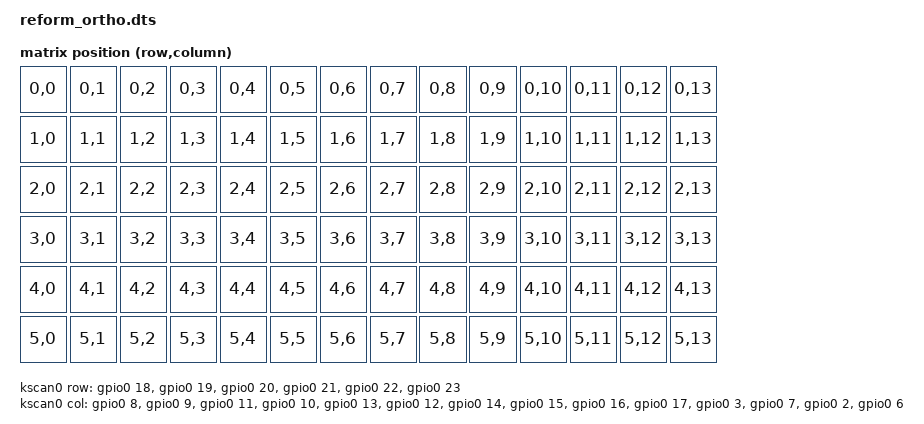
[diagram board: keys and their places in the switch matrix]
/*
  SPDX-License-Identifier: GPL-3.0-or-later
  Copyright 2026 Gordon Q
*/
/dts-v1/;

#include <raspberrypi/rpi_pico/rp2040.dtsi>
#include <dt-bindings/led/led.h>
#include <dt-bindings/input/input-event-codes.h>
#include <dt-bindings/zmk/matrix_transform.h>
#include <input/processors.dtsi>

#include "reform_ortho-pinctrl.dtsi"
#include "reform_ortho-layouts.dtsi"

&reform_ortho_layout {
    transform = <&default_transform>;
};

/ {

    chosen {
        zephyr,console = &uart1;
        zephyr,shell-uart = &uart1;
        zephyr,sram = &sram0;
        zephyr,flash = &flash0;
        zephyr,flash-controller = &ssi;
        zephyr,code-partition = &code_partition;
        zephyr,display = &oled;

        mnt,reform-sysctrl = &uart1;

        zmk,kscan = &kscan0;
        zmk,physical-layout = &reform_ortho_layout;
        zmk,underglow = &led_strip;
    };

    aliases {
        watchdog0 = &wdt0;
    };

    sleep_config: rp2040_sleep {
        compatible = "raspberrypi,rp2040-sleep";
        sleep-en0 = <0xf09419d9>; /* stock mask + clk_sys_i2c1 */
        sleep-en1 = <0x6f23>; /* stock mask + clk_peri_uart1, clk_sys_uart1 */
        wake-en0 = <0xf0fddff9>; /* stock mask + clk_sys_i2c1 */
        wake-en1 = <0x7f27>;
        deep-sleep;
    };

    trackball_listener {
        compatible = "zmk,input-listener";
        device = <&trackball>;
        input-processors = <&zip_xy_scaler 2 1>;
    };

    default_transform: keymap_transform_0 {
        compatible = "zmk,matrix-transform";
        columns = <14>;
        rows = <6>;

        // Full 14x6 grid: matrix row/column N is physical row/column N
        map = <
            RC(0,0) RC(0,1) RC(0,2) RC(0,3) RC(0,4) RC(0,5) RC(0,6) RC(0,7) RC(0,8) RC(0,9) RC(0,10) RC(0,11) RC(0,12) RC(0,13)
            RC(1,0) RC(1,1) RC(1,2) RC(1,3) RC(1,4) RC(1,5) RC(1,6) RC(1,7) RC(1,8) RC(1,9) RC(1,10) RC(1,11) RC(1,12) RC(1,13)
            RC(2,0) RC(2,1) RC(2,2) RC(2,3) RC(2,4) RC(2,5) RC(2,6) RC(2,7) RC(2,8) RC(2,9) RC(2,10) RC(2,11) RC(2,12) RC(2,13)
            RC(3,0) RC(3,1) RC(3,2) RC(3,3) RC(3,4) RC(3,5) RC(3,6) RC(3,7) RC(3,8) RC(3,9) RC(3,10) RC(3,11) RC(3,12) RC(3,13)
            RC(4,0) RC(4,1) RC(4,2) RC(4,3) RC(4,4) RC(4,5) RC(4,6) RC(4,7) RC(4,8) RC(4,9) RC(4,10) RC(4,11) RC(4,12) RC(4,13)
            RC(5,0) RC(5,1) RC(5,2) RC(5,3) RC(5,4) RC(5,5) RC(5,6) RC(5,7) RC(5,8) RC(5,9) RC(5,10) RC(5,11) RC(5,12) RC(5,13)
        >;
    };

    kscan0: kscan {
        compatible = "zmk,kscan-gpio-matrix";

        diode-direction = "col2row";
        row-gpios
            = <&gpio0 18 (GPIO_ACTIVE_HIGH | GPIO_PULL_DOWN)>
            , <&gpio0 19 (GPIO_ACTIVE_HIGH | GPIO_PULL_DOWN)>
            , <&gpio0 20 (GPIO_ACTIVE_HIGH | GPIO_PULL_DOWN)>
            , <&gpio0 21 (GPIO_ACTIVE_HIGH | GPIO_PULL_DOWN)>
            , <&gpio0 22 (GPIO_ACTIVE_HIGH | GPIO_PULL_DOWN)>
            , <&gpio0 23 (GPIO_ACTIVE_HIGH | GPIO_PULL_DOWN)>
            ;
        col-gpios
            = <&gpio0 8  GPIO_ACTIVE_HIGH>
            , <&gpio0 9  GPIO_ACTIVE_HIGH>
            , <&gpio0 11 GPIO_ACTIVE_HIGH>
            , <&gpio0 10 GPIO_ACTIVE_HIGH>
            , <&gpio0 13 GPIO_ACTIVE_HIGH>
            , <&gpio0 12 GPIO_ACTIVE_HIGH>
            , <&gpio0 14 GPIO_ACTIVE_HIGH>
            , <&gpio0 15 GPIO_ACTIVE_HIGH>
            , <&gpio0 16 GPIO_ACTIVE_HIGH>
            , <&gpio0 17 GPIO_ACTIVE_HIGH>
            , <&gpio0 3  GPIO_ACTIVE_HIGH>
            , <&gpio0 7  GPIO_ACTIVE_HIGH>
            , <&gpio0 2  GPIO_ACTIVE_HIGH>
            , <&gpio0 6  GPIO_ACTIVE_HIGH>
            ;
    };
};

&flash0 {
    reg = <0x10000000 DT_SIZE_M(1)>;

    partitions {
        compatible = "fixed-partitions";
        #address-cells = <1>;
        #size-cells = <1>;

        /* First 0x100 bytes reserved memory for the second stage bootloader */
        second_stage_bootloader: partition@0 {
            reg = <0x00000000 0x100>;
            read-only;
        };

        /* Usable flash: 1MB W25Q80 minus the bootloader and 128K of settings */
        code_partition: partition@100 {
            reg = <0x100 (DT_SIZE_M(1) - 0x100 - DT_SIZE_K(128))>;
            read-only;
        };

        storage_partition: partition@e0000 {
            reg = <0xe0000 DT_SIZE_K(128)>;
        };
    };
};

&xosc {
    startup-delay-multiplier = <64>;
};

&pll_sys {
    fb-div = <125>;
    post-div1 = <6>;
    post-div2 = <4>;
};

&clk_sys {
    clock-frequency = <62500000>;
};

&clk_peri {
    clock-frequency = <62500000>;
};

&clk_gpout0 {
    clock-frequency = <62500000>;
};

&clk_gpout1 {
    clock-frequency = <62500000>;
};

&clk_gpout2 {
    clock-frequency = <62500000>;
};

&clk_gpout3 {
    clock-frequency = <62500000>;
};

&gpio0 {
    status = "okay";
};

&wdt0 {
    status = "okay";
};

zephyr_udc0: &usbd {
    status = "okay";
};

&uart1 {
    status = "okay";
    current-speed = <115200>;
    pinctrl-0 = <&uart1_default>;
    pinctrl-names = "default";
};

&timer {
    status = "okay";
};

&rtc {
    status = "okay";
    clocks = <&clocks RPI_PICO_CLKID_CLK_RTC>;
};

&vreg {
    regulator-always-on;
    regulator-allowed-modes = <REGULATOR_RPI_PICO_MODE_NORMAL>;
};

&i2c0 {
      status = "okay";
      pinctrl-0 = <&i2c0_default>;
      pinctrl-names = "default";
      clock-frequency = <I2C_BITRATE_FAST>;

      oled: ssd1306@3c {
          compatible = "solomon,ssd1306fb";
          reg = <0x3c>;
          width = <128>;
          height = <32>;
          segment-offset = <0>;
          page-offset = <0>;
          display-offset = <0>;
          multiplex-ratio = <31>;
          segment-remap;
          com-invdir;
          com-sequential;
          inversion-on;
          prechargep = <0x22>;
      };

      trackball: trackball@79 {
          compatible = "mnt,trackball";
          reg = <0x79>;
          invert-x;
          invert-y;
      };
};

&i2c1 {
      status = "disabled";
      pinctrl-0 = <&i2c1_default>;
      pinctrl-names = "default";
      clock-frequency = <I2C_BITRATE_FAST>;
};

&pio0 {
    status = "okay";

    pio-ws2812 {
        status = "okay";
        compatible = "worldsemi,ws2812-rpi_pico-pio";
        pinctrl-0 = <&ws2812_pio0_default>;
        pinctrl-names = "default";
        bit-waveform = <2>, <5>, <3>;

        led_strip: ws28122 {
            status = "okay";
            gpios = <&gpio0 24 GPIO_ACTIVE_HIGH>;
            chain-length = <6>;
            color-mapping = <LED_COLOR_ID_GREEN
            LED_COLOR_ID_RED
            LED_COLOR_ID_BLUE>;
            reset-delay = <280>;
            frequency = <800000>;
        };
    };
};
